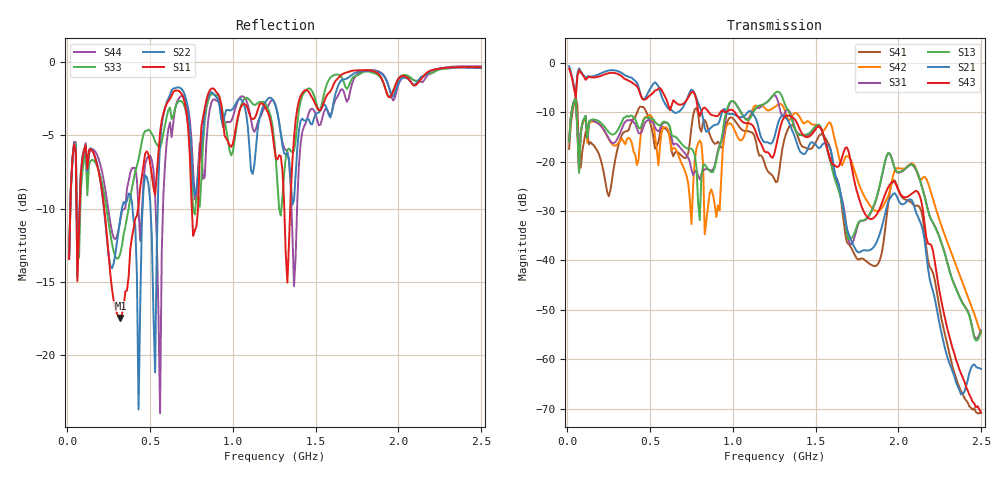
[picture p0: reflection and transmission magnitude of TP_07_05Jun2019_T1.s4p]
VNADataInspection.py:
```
#!/usr/bin/env python3
# -*- coding: utf-8 -*-
"""
Created on Mon Jul  1 01:52:57 2019

@author: skhalil
"""
import skrf as rf
import pylab

vna = rf.Network('TP_07_05Jun2019_T1.s4p')

z0 = vna.z0

print(vna)

# charachteristic impedence
#print(z0)

# S-parameters
print(vna.s)

# smith chart for element 01 of S-Matrix => S12
vna.plot_s_smith(m=0,n=1,color='b', marker='x')


pylab.show()
```
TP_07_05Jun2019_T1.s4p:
!Keysight Technologies,N5225A,MY55451604,A.10.60.03
!Date: Wednesday, June 05, 2019 16:55:11
!Correction: S11(Full 4 Port(1,2,3,4))
!S12(Full 4 Port(1,2,3,4))
!S13(Full 4 Port(1,2,3,4))
!S14(Full 4 Port(1,2,3,4))
!S21(Full 4 Port(1,2,3,4))
!S22(Full 4 Port(1,2,3,4))
!S23(Full 4 Port(1,2,3,4))
!S24(Full 4 Port(1,2,3,4))
!S31(Full 4 Port(1,2,3,4))
!S32(Full 4 Port(1,2,3,4))
!S33(Full 4 Port(1,2,3,4))
!S34(Full 4 Port(1,2,3,4))
!S41(Full 4 Port(1,2,3,4))
!S42(Full 4 Port(1,2,3,4))
!S43(Full 4 Port(1,2,3,4))
!S44(Full 4 Port(1,2,3,4))
!S4P File: Measurements: <S11,S12,S13,S14>,
!<S21,S22,S23,S24>,
!<S31,S32,S33,S34>,
!<S41,S42,S43,S44>:
# Hz S  dB  R 50
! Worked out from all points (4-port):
!   250 points, 10 MHz to 2.5 GHz, reference 50 ohm
!   strongest paths, dB at 10 MHz, 630 MHz, 1.26 GHz, 1.88 GHz, 2.5 GHz:
!     S43: -1.1, -8.6, -17.1, -30.1, -70.7
!     S21: -0.6, -9.6, -13.9, -35.4, -62.0
!     S13: -15.9, -14.6, -5.9, -25.9, -54.4
!     S31: -15.8, -15.2, -6.7, -26.1, -54.1
!     S42: -15.9, -17.7, -8.7, -30.0, -54.7
!     S41: -17.4, -17.9, -24.1, -40.6, -70.9
!   lowest |S11| = -17.4 dB at 320 MHz (marker M1), VSWR 1.31, Z = 39.8 + j6.54 ohm
!   |S11| at or under -10 dB: 222.1 MHz to 427 MHz (204.9 MHz wide, 63.1 % of centre); 752 MHz to 789.8 MHz (37.84 MHz wide, 4.91 % of centre); 1.311 GHz to 1.347 GHz (35.91 MHz wide, 2.7 % of centre)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
1e7  -13.44 57.7  -0.64 -19.9  -15.91 60.2  -17.41 -124.3
     -0.63 -19.9  -13.41 57.8  -17.55 -124.2  -15.87 60.2
     -15.83 60.2  -17.49 -124.4  -13.30 43.0  -1.14 -19.0
     -17.40 -124.3  -15.89 60.2  -1.14 -19.0  -13.17 43.6
3.2e8  -17.45 143.1  -2.17 -1.0  -12.57 93.4  -14.84 -102.6
       -1.85 0.6  -10.63 13.4  -15.26 -102.0  -15.29 56.1
       -14.06 88.6  -14.30 -103.2  -13.05 132.5  -2.48 8.5
       -15.36 -96.6  -15.70 48.6  -2.47 8.5  -10.77 50.8
2.5e9  -0.38 118.3  -61.16 14.8  -54.43 -22.1  -70.25 -157.4
       -61.96 21.5  -0.44 116.1  -54.19 20.8  -54.65 69.6
       -54.12 -21.2  -54.46 19.0  -0.36 117.7  -70.08 33.0
       -70.88 -153.8  -54.70 66.4  -70.73 31.1  -0.31 113.1
